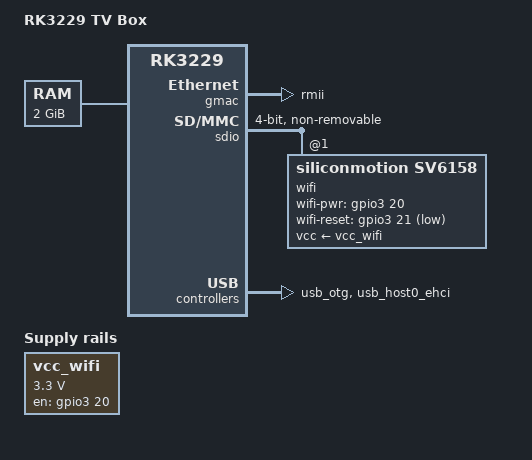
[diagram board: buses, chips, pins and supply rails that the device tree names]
/dts-v1/;
#include "rk322x.dtsi"

/ {
	model = "RK3229 TV Box";
	compatible = "rk322x,rk3229-sv6158", "rockchip,rk3229";

	memory@60000000 {
		device_type = "memory";
		reg = <0x60000000 0x80000000>; // Sesuaikan dengan RAM
	};

	vcc_wifi: regulator-wifi {
		compatible = "regulator-fixed";
		regulator-name = "vcc_wifi";
		regulator-min-microvolt = <3300000>;
		regulator-max-microvolt = <3300000>;
		gpio = <&gpio3 20 GPIO_ACTIVE_HIGH>; // Contoh GPIO
		enable-active-high;
		regulator-always-on;
	};

	chosen {
		bootargs = "earlyprintk console=ttyS2,1500000n8";
	};
};

&gmac {
	phy-mode = "rmii";
	status = "okay";
};

&sdio {
	status = "okay";
	#address-cells = <1>;
	#size-cells = <0>;
	bus-width = <4>;
	max-frequency = <52000000>;
	cap-sd-highspeed;
	keep-power-in-suspend;
	non-removable;

	wifi: wifi@1 {
		compatible = "siliconmotion,sv6158";
		reg = <1>;
		sv6x5x,wifi-pwr-gpio = <&gpio3 20 GPIO_ACTIVE_HIGH>;  // GPIO3_C4
		sv6x5x,wifi-reset-gpio = <&gpio3 21 GPIO_ACTIVE_LOW>; // GPIO3_C5
		vcc-supply = <&vcc_wifi>;
	};
};

&usb_otg {
	status = "okay";
};

&usb_host0_ehci {
	status = "okay";
};
